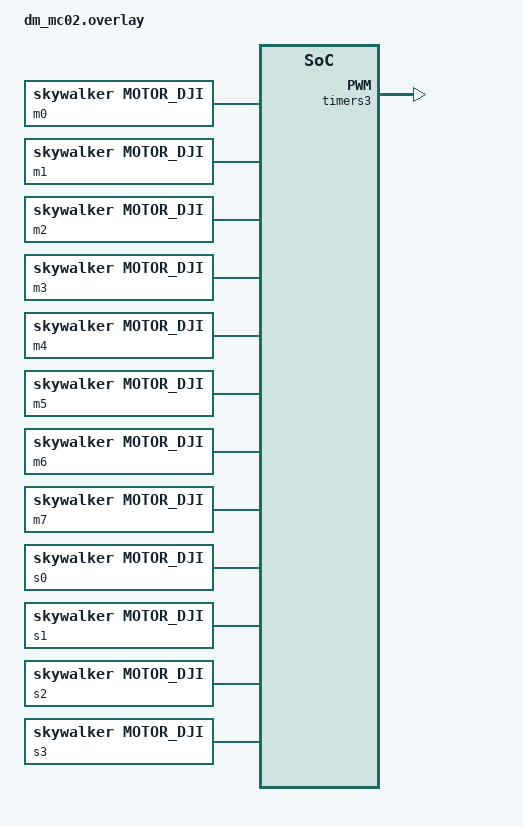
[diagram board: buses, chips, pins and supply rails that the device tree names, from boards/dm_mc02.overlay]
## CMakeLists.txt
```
cmake_minimum_required(VERSION 3.20.0)
find_package(Zephyr REQUIRED HINTS $ENV{ZEPHYR_BASE})
project(dt_smoke_test)
target_sources(app PRIVATE src/main.c)
```

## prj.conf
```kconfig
CONFIG_SKYWALKER_DRIVER_MOTOR=y
CONFIG_SKYWALKER_DRIVER_MOTOR_DJI=y
CONFIG_SKYWALKER_DRIVER_PID=y
CONFIG_SKYWALKER_DRIVER_IMU=y
CONFIG_SKYWALKER_DRIVER_KALMAN_FILTER=y
CONFIG_SKYWALKER_DRIVER_CHASSIS=y
CONFIG_SKYWALKER_DRIVER_GIMBAL=y
CONFIG_SKYWALKER_LIB_MATRIX=y
CONFIG_CAN=y
CONFIG_FPU=y
CONFIG_FPU_SHARING=y
CONFIG_UART_ASYNC_API=y
CONFIG_NOCACHE_MEMORY=y
```

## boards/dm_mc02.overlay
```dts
/*
 * dt_smoke_test —— 【编译期】冒烟测试，不烧板子、不接电机。
 *
 * 它唯一的目的：让 chassis.c / gimbal.c 里那两坨 DT 宏真正展开一次。
 *
 * 为什么非要有这么个东西：
 *   *_DT_CONFIG_INST_INIT 只在 DT_INST_FOREACH_STATUS_OKAY 至少命中一个节点时
 *   才展开。而任何【没有 skywalker,chassis / skywalker,gimbal 节点】的构建
 *   （包括 imu_test、motor_dji_test）里，那些宏一个字符都不会被编译。
 *   于是语法错误、拼错的属性名、缺尾逗号、少个右括号……全部静默潜伏，
 *   一直等到 application 第一次写出真节点的那一刻集中爆炸。
 *   实测：这个文件第一次跑起来，一次性炸出 3 个真 bug（见 NOTES.md）。
 *
 * 所以它是【回归防线】不是台架：以后动 chassis.c / gimbal.c 的 DT 宏，
 * 先 `west build -b dm_mc02 samples/dt_smoke_test -d /tmp/x` 验一遍。
 *
 * ⚠️ 下面所有数值【都是编的】，只求语法和形状对，没有任何装车意义：
 *    整车几何 / 电机 ID / PID 增益 / pitch 行程 / 摩擦轮转速，全和真车无关。
 *    真配置在 application/。这里抄真车数据反而危险 —— 会有人以为它算数。
 *
 * ⚠️ 这里特意用 type = "steer"：它是三个构型里唯一会走 CHASSIS_OPT_DEVS
 *    （选填 phandles 数组）的，也就是曾经挂掉的那条路。换成 mecanum 就少测一半。
 */

/ {
	imu: imu {
		compatible = "skywalker,imu";
		accel-dev  = <&bmi08x_accel>;
		gyro-dev   = <&bmi08x_gyro>;
		heat-dev   = <&pwm_heat>;
		filter-dev = <&ekf_filter>;
		pid-dev    = <&temp_pid>;
		estimator  = "ekf";
	};

	ekf_filter: ekf_filter {
		compatible = "skywalker,kalman_filter";
		state-dim   = <4>;
		measure-dim = <3>;
	};

	temp_pid:  temp_pid  { compatible = "skywalker,pid"; k-p="1"; k-i="0"; k-d="0"; i-max="0"; out-max="1"; deadband="0"; };
	ekf_pid:   ekf_pid   { compatible = "skywalker,pid"; k-p="1"; k-i="0"; k-d="0"; i-max="0"; out-max="1"; deadband="0"; };
	wheel_pid: wheel_pid { compatible = "skywalker,pid"; k-p="8"; k-i="0"; k-d="0"; i-max="2"; out-max="2"; deadband="0"; };
	steer_pid: steer_pid { compatible = "skywalker,pid"; k-p="8"; k-i="0"; k-d="0"; i-max="2"; out-max="2"; deadband="0"; };
	tspd_pid:  tspd_pid  { compatible = "skywalker,pid"; k-p="8"; k-i="0"; k-d="0"; i-max="2"; out-max="2"; deadband="0"; };
	tang_pid:  tang_pid  { compatible = "skywalker,pid"; k-p="8"; k-i="0"; k-d="0"; i-max="2"; out-max="2"; deadband="0"; };
	yaw_a_pid: yaw_a_pid { compatible = "skywalker,pid"; k-p="8"; k-i="0"; k-d="0"; i-max="2"; out-max="2"; deadband="0"; };
	yaw_s_pid: yaw_s_pid { compatible = "skywalker,pid"; k-p="8"; k-i="0"; k-d="0"; i-max="2"; out-max="2"; deadband="0"; };
	pt_a_pid:  pt_a_pid  { compatible = "skywalker,pid"; k-p="8"; k-i="0"; k-d="0"; i-max="2"; out-max="2"; deadband="0"; };
	pt_s_pid:  pt_s_pid  { compatible = "skywalker,pid"; k-p="8"; k-i="0"; k-d="0"; i-max="2"; out-max="2"; deadband="0"; };
	fric_pid:  fric_pid  { compatible = "skywalker,pid"; k-p="8"; k-i="0"; k-d="0"; i-max="2"; out-max="2"; deadband="0"; };

	m0: m0 { compatible = "skywalker,motor_dji"; can-dev = <&can1>; id = <1>; tx-id = <0x200>; rx-id = <0x201>; type = "M3508"; gear-ratio = "19.2032"; status = "okay"; };
	m1: m1 { compatible = "skywalker,motor_dji"; can-dev = <&can1>; id = <2>; tx-id = <0x200>; rx-id = <0x202>; type = "M3508"; gear-ratio = "19.2032"; status = "okay"; };
	m2: m2 { compatible = "skywalker,motor_dji"; can-dev = <&can1>; id = <3>; tx-id = <0x200>; rx-id = <0x203>; type = "M3508"; gear-ratio = "19.2032"; status = "okay"; };
	m3: m3 { compatible = "skywalker,motor_dji"; can-dev = <&can1>; id = <4>; tx-id = <0x200>; rx-id = <0x204>; type = "M3508"; gear-ratio = "19.2032"; status = "okay"; };
	m4: m4 { compatible = "skywalker,motor_dji"; can-dev = <&can1>; id = <5>; tx-id = <0x1ff>; rx-id = <0x205>; type = "M3508"; gear-ratio = "19.2032"; status = "okay"; };
	m5: m5 { compatible = "skywalker,motor_dji"; can-dev = <&can1>; id = <6>; tx-id = <0x1ff>; rx-id = <0x206>; type = "M3508"; gear-ratio = "19.2032"; status = "okay"; };
	m6: m6 { compatible = "skywalker,motor_dji"; can-dev = <&can1>; id = <7>; tx-id = <0x1ff>; rx-id = <0x207>; type = "M3508"; gear-ratio = "19.2032"; status = "okay"; };
	m7: m7 { compatible = "skywalker,motor_dji"; can-dev = <&can1>; id = <8>; tx-id = <0x1ff>; rx-id = <0x208>; type = "M3508"; gear-ratio = "19.2032"; status = "okay"; };

	s0: s0 { compatible = "skywalker,motor_dji"; can-dev = <&can2>; id = <1>; tx-id = <0x200>; rx-id = <0x201>; type = "M3508"; gear-ratio = "19.2032"; status = "okay"; };
	s1: s1 { compatible = "skywalker,motor_dji"; can-dev = <&can2>; id = <2>; tx-id = <0x200>; rx-id = <0x202>; type = "M3508"; gear-ratio = "19.2032"; status = "okay"; };
	s2: s2 { compatible = "skywalker,motor_dji"; can-dev = <&can2>; id = <3>; tx-id = <0x200>; rx-id = <0x203>; type = "M3508"; gear-ratio = "19.2032"; status = "okay"; };
	s3: s3 { compatible = "skywalker,motor_dji"; can-dev = <&can2>; id = <4>; tx-id = <0x200>; rx-id = <0x204>; type = "M3508"; gear-ratio = "19.2032"; status = "okay"; };

	skywalker_chassis: chassis {
		compatible = "skywalker,chassis";
		type = "steer";
		wheels       = <&m0 &m1 &m2 &m3>;
		wheel-x      = "0.2", "-0.2", "-0.2", "0.2";
		wheel-y      = "0.2", "0.2", "-0.2", "-0.2";
		wheel-radius = "0.06";
		wheel-pid    = <&wheel_pid>;
		steer-motors = <&s0 &s1 &s2 &s3>;
		steer-pid    = <&steer_pid>;
		imu          = <&imu>;
		trigger-motor      = <&m4>;
		trigger-speed-pid  = <&tspd_pid>;
		trigger-angle-pid  = <&tang_pid>;
		trigger-angle-deg  = "45";
		trigger-speed-deg-s = "360";
	};

	skywalker_gimbal: gimbal {
		compatible = "skywalker,gimbal";
		yaw-motor        = <&m5>;
		pitch-motor      = <&m6>;
		imu              = <&imu>;
		yaw-pid          = <&yaw_a_pid>;
		yaw-speed-pid    = <&yaw_s_pid>;
		pitch-pid        = <&pt_a_pid>;
		pitch-speed-pid  = <&pt_s_pid>;
		pitch-min-deg    = "-20";
		pitch-max-deg    = "30";
		friction-motors      = <&m7>;
		friction-pid         = <&fric_pid>;
		friction-speed-deg-s = "6000";
	};
};

&timers3 {
	status = "okay";
	st,prescaler = <99>;

	pwm_heat: pwm {
		status = "okay";
		pinctrl-names = "default";
		pinctrl-0 = <&tim3_ch4_pb1>;
	};
};
```

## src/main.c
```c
#include <zephyr/kernel.h>
#include <zephyr/device.h>
#include "drivers/chassis/chassis.h"
#include "drivers/gimbal/gimbal.h"

/* 把两个 driver_api 和 config 都拉到二进制里：宏没展开成合法 C 就过不了这一关。 */
static const struct device *const c = DEVICE_DT_GET(DT_NODELABEL(skywalker_chassis));
static const struct device *const g = DEVICE_DT_GET(DT_NODELABEL(skywalker_gimbal));

int main(void) {
	const chassis_config *cc = c->config;
	const gimbal_config  *gc = g->config;

	printk("chassis: type=%d n_steer=%p trig=%p ang=%f spd=%f\n",
	       (int)cc->type, (void *)cc->steer_motors[0], (void *)cc->trigger_motor,
	       (double)cc->trigger_angle_deg, (double)cc->trigger_speed_deg_s);
	printk("gimbal: n_fric=%u fric_pid=%p fric_spd=%f pitch=[%f,%f]\n",
	       (unsigned)gc->friction_num, (void *)gc->friction_pid,
	       (double)gc->friction_speed_rad_s, (double)gc->pitch_min_rad, (double)gc->pitch_max_rad);

	/* 走一遍控制线程的真实调用顺序。chassis_set_power_limit 在这里只是为了
	 * 让新增的 api 成员和它的分发函数被真正编译到 —— 少一个成员，
	 * chassis_driver_api 的初始化器会静默留空，照样过编译。 */
	chassis_set_power_limit(c, 80.0f);

	chassis_update(c, 0.001f);
	chassis_power_limit(c);            /* ★ 必须紧跟 update，见 chassis.h */
	chassis_trigger_update(c, 0.001f);
	gimbal_update(g, 0.001f);
	return 0;
}
```
